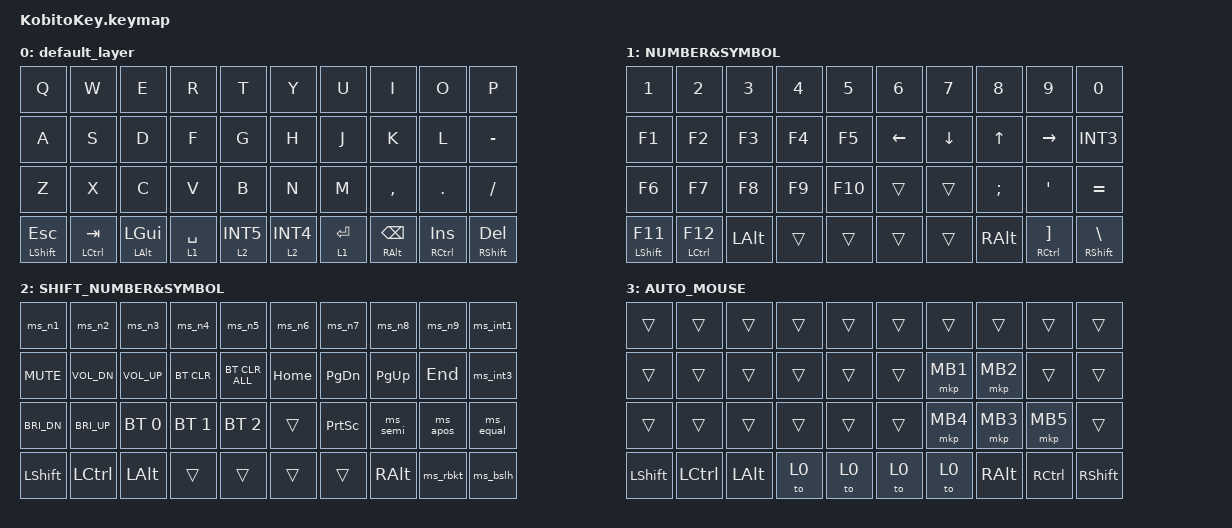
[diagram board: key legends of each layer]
#include <input/processors.dtsi>
#include <behaviors.dtsi>
#include <dt-bindings/zmk/bt.h>
#include <dt-bindings/zmk/keys.h>
#include <dt-bindings/zmk/pointing.h>

/ {
    behaviors {
        ms_n1: mod_morph_n1 {
            compatible = "zmk,behavior-mod-morph";
            #binding-cells = <0>;
            bindings = <&kp LS(N1)>, <&kp N1>;
            mods = <(MOD_LSFT|MOD_RSFT)>;
        };

        ms_n2: mod_morph_n2 {
            compatible = "zmk,behavior-mod-morph";
            #binding-cells = <0>;
            bindings = <&kp LS(N2)>, <&kp N2>;
            mods = <(MOD_LSFT|MOD_RSFT)>;
        };

        ms_n3: mod_morph_n3 {
            compatible = "zmk,behavior-mod-morph";
            #binding-cells = <0>;
            bindings = <&kp LS(N3)>, <&kp N3>;
            mods = <(MOD_LSFT|MOD_RSFT)>;
        };

        ms_n4: mod_morph_n4 {
            compatible = "zmk,behavior-mod-morph";
            #binding-cells = <0>;
            bindings = <&kp LS(N4)>, <&kp N4>;
            mods = <(MOD_LSFT|MOD_RSFT)>;
        };

        ms_n5: mod_morph_n5 {
            compatible = "zmk,behavior-mod-morph";
            #binding-cells = <0>;
            bindings = <&kp LS(N5)>, <&kp N5>;
            mods = <(MOD_LSFT|MOD_RSFT)>;
        };

        ms_n6: mod_morph_n6 {
            compatible = "zmk,behavior-mod-morph";
            #binding-cells = <0>;
            bindings = <&kp LS(N6)>, <&kp N6>;
            mods = <(MOD_LSFT|MOD_RSFT)>;
        };

        ms_n7: mod_morph_n7 {
            compatible = "zmk,behavior-mod-morph";
            #binding-cells = <0>;
            bindings = <&kp LS(N7)>, <&kp N7>;
            mods = <(MOD_LSFT|MOD_RSFT)>;
        };

        ms_n8: mod_morph_n8 {
            compatible = "zmk,behavior-mod-morph";
            #binding-cells = <0>;
            bindings = <&kp LS(N8)>, <&kp N8>;
            mods = <(MOD_LSFT|MOD_RSFT)>;
        };

        ms_n9: mod_morph_n9 {
            compatible = "zmk,behavior-mod-morph";
            #binding-cells = <0>;
            bindings = <&kp LS(N9)>, <&kp N9>;
            mods = <(MOD_LSFT|MOD_RSFT)>;
        };

        ms_int1: mod_morph_int1 {
            compatible = "zmk,behavior-mod-morph";
            #binding-cells = <0>;
            bindings = <&kp LS(INT1)>, <&kp INT1>;
            mods = <(MOD_LSFT|MOD_RSFT)>;
        };

        ms_int3: mod_morph_int3 {
            compatible = "zmk,behavior-mod-morph";
            #binding-cells = <0>;
            bindings = <&kp LS(INT3)>, <&kp INT3>;
            mods = <(MOD_LSFT|MOD_RSFT)>;
        };

        ms_semi: mod_morph_semi {
            compatible = "zmk,behavior-mod-morph";
            #binding-cells = <0>;
            bindings = <&kp LS(SEMI)>, <&kp SEMI>;
            mods = <(MOD_LSFT|MOD_RSFT)>;
        };

        ms_apos: mod_morph_apos {
            compatible = "zmk,behavior-mod-morph";
            #binding-cells = <0>;
            bindings = <&kp LS(APOS)>, <&kp APOS>;
            mods = <(MOD_LSFT|MOD_RSFT)>;
        };

        ms_equal: mod_morph_equal {
            compatible = "zmk,behavior-mod-morph";
            #binding-cells = <0>;
            bindings = <&kp LS(EQUAL)>, <&kp EQUAL>;
            mods = <(MOD_LSFT|MOD_RSFT)>;
        };

        ms_rbkt: mod_morph_rbkt {
            compatible = "zmk,behavior-mod-morph";
            #binding-cells = <0>;
            bindings = <&kp LS(RBKT)>, <&kp RBKT>;
            mods = <(MOD_LSFT|MOD_RSFT)>;
        };

        ms_bslh: mod_morph_bslh {
            compatible = "zmk,behavior-mod-morph";
            #binding-cells = <0>;
            bindings = <&kp LS(BSLH)>, <&kp BSLH>;
            mods = <(MOD_LSFT|MOD_RSFT)>;
        };

    };

    keymap {
        compatible = "zmk,keymap";

        default_layer {
            bindings = <
&kp Q          &kp W          &kp E          &kp R        &kp T        &kp Y        &kp U        &kp I          &kp O           &kp P
&kp A          &kp S          &kp D          &kp F        &kp G        &kp H        &kp J        &kp K          &kp L           &kp MINUS
&kp Z          &kp X          &kp C          &kp V        &kp B        &kp N        &kp M        &kp COMMA      &kp DOT         &kp SLASH
&mt LSHFT ESC  &mt LCTRL TAB  &mt LALT LGUI  &lt 1 SPACE  &lt 2 INT5   &lt 2 INT4   &lt 1 RETURN &mt RALT BSPC  &mt RCTRL INS   &mt RSHFT DEL
            >;
        };

        layer1 {
            label = "NUMBER&SYMBOL";
            bindings = <
&kp N1     &kp N2     &kp N3   &kp N4  &kp N5    &kp N6  &kp N7   &kp N8       &kp N9        &kp N0
&kp F1     &kp F2     &kp F3   &kp F4  &kp F5    &kp LEFT &kp DOWN &kp UP      &kp RIGHT     &kp INT3
&kp F6     &kp F7     &kp F8   &kp F9  &kp F10   &trans  &trans   &kp SEMI     &kp APOS      &kp EQUAL
&mt LSHFT F11  &mt LCTRL F12  &kp LALT &trans  &trans    &trans  &trans   &kp RALT     &mt RCTRL RBKT &mt RSHFT BSLH
            >;
        };

        layer2 {
            label = "SHIFT_NUMBER&SYMBOL";
            bindings = <
&ms_n1       &ms_n2       &ms_n3       &ms_n4     &ms_n5         &ms_n6      &ms_n7     &ms_n8     &ms_n9     &ms_int1
&kp C_MUTE   &kp C_VOL_DN &kp C_VOL_UP &bt BT_CLR &bt BT_CLR_ALL &kp HOME    &kp PG_DN  &kp PG_UP  &kp END  &ms_int3
&kp C_BRI_DN &kp C_BRI_UP &bt BT_SEL 0 &bt BT_SEL 1 &bt BT_SEL 2 &trans      &kp PSCRN  &ms_semi   &ms_apos   &ms_equal
&kp LSHFT    &kp LCTRL    &kp LALT     &trans      &trans         &trans      &trans     &kp RALT   &ms_rbkt   &ms_bslh
            >;
        };

        layer3 {
            label = "AUTO_MOUSE";
            bindings = <
&trans     &trans     &trans   &trans  &trans  &trans  &trans    &trans    &trans  &trans
&trans     &trans     &trans   &trans  &trans  &trans  &mkp MB1  &mkp MB2  &trans  &trans
&trans     &trans     &trans   &trans  &trans  &trans  &mkp MB4  &mkp MB3  &mkp MB5  &trans
&kp LSHFT  &kp LCTRL  &kp LALT  &to 0  &to 0  &to 0  &to 0  &kp RALT  &kp RCTRL  &kp RSHFT
            >;
        };
    };
};
